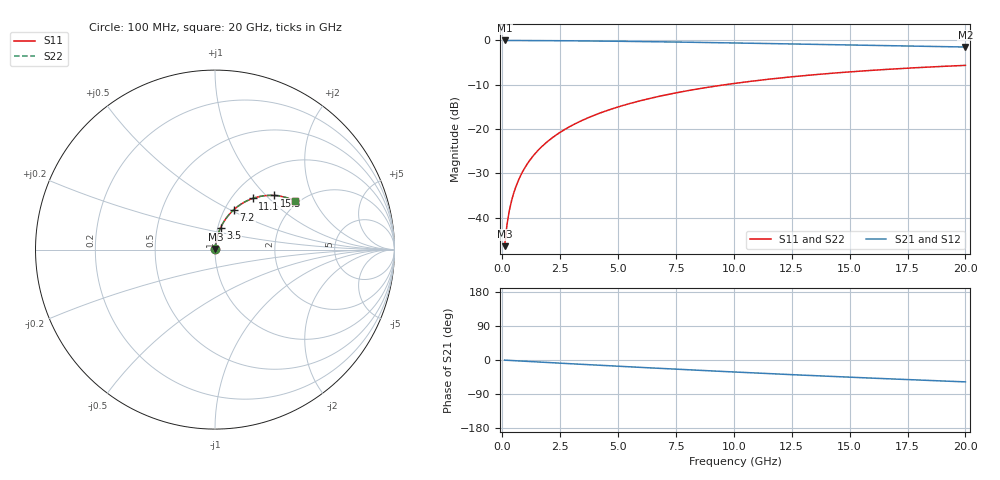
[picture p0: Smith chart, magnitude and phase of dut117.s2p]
! Touchstone file exported from HFSS 2026.1.0
!  File:  C:/ffzhzh/LocalFiles/Ansys_Project_Files/temp_train_BSMRDL_117_1782985974_40604.aedt
!  Generated:  05:54:21 PM Jul  2, 2026
!  Design:  BSMRDL
!  Project:  temp_train_BSMRDL_117_1782985974_40604
! Variables:
!  h_bsmrdl = 5.91um
!  h_ox = 20um
!  h_rdl = 5um
!  h_sub = 80um
!  h_tmrdl = 5um
!  h_tsv = 80um
!  h_via = 3um
!  l_bsmrdl = 882.32um
!  l_sub = 1282.32um
!  l_tmrdl = 200um
!  m_sub = 200um
!  pitch = 57.64um
!  r_tsv = 6um
!  s_tmrdl = 10um
!  w_bsmrdl = 20.45um
!  w_sub = 500um
!  w_tmrdl = 12um
!  x_tsv_center1 = 206um
!  x_tsv_center2 = 1108.77um
!  x_tsv_center3 = 1320.77um
!  x_tsv_center4 = 2223.54um
!  x_tsv_center5 = 2435.54um
!  x_tsv_center6 = 3338.31um
# GHz S MA R 50.000000
! Terminal data exported
! Port[1] = BSM_RDL1_1_T1
! Port[2] = BSM_RDL1_1_T2
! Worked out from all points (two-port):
!   200 points, 100 MHz to 20 GHz, reference 50 ohm
!   highest |S21| = -0.02 dB at 100 MHz (marker M1); lowest = -1.5 dB at 20 GHz (marker M2)
!   |S21| within 3 dB of the highest: start of sweep to end of sweep
!   lowest |S11| = -46.4 dB at 100 MHz (marker M3), VSWR 1.01, Z = 50.3 + j0.395 ohm
!   |S11| at or under -10 dB: start of sweep to 9.617 GHz
!   |S22| runs from -46.4 to -5.6 dB; largest |S21 - S12| = 1.3e-14
!   S11 on the Smith chart (normalised r, x): 100 MHz: 1.01, +0.01; 3.5 GHz: 1.03, +0.26; 7.2 GHz: 1.11, +0.53; 11.1 GHz: 1.24, +0.81; 15.3 GHz: 1.48, +1.12; 20 GHz: 1.93, +1.43
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0.1  0.004796 55.1  0.9973 -0.4  0.9973 -0.4  0.004796 55.1
! Gamma 0 0 0 0
! Port Impedance 50 0 50 0
0.2  0.008311 69.1  0.9971 -0.7  0.9971 -0.7  0.008311 69.1
0.3  0.01195 74.3  0.9969 -1.0  0.9969 -1.0  0.01195 74.3
0.4  0.0156 77.0  0.9968 -1.4  0.9968 -1.4  0.0156 77.0
0.5  0.01926 78.6  0.9966 -1.7  0.9966 -1.7  0.01926 78.6
0.7  0.0266 80.3  0.9963 -2.4  0.9963 -2.4  0.0266 80.3
1  0.03764 81.1  0.9957 -3.4  0.9957 -3.4  0.03764 81.1
1.4  0.05233 81.0  0.9947 -4.7  0.9947 -4.7  0.05233 81.0
1.7  0.06328 80.4  0.9938 -5.7  0.9938 -5.7  0.06328 80.5
2  0.07416 79.8  0.9928 -6.7  0.9928 -6.7  0.07416 79.8
2.7  0.09918 77.9  0.9898 -9.0  0.9898 -9.0  0.09918 77.9
3.5  0.1271 75.6  0.9857 -11.6  0.9857 -11.6  0.1271 75.6
4.2  0.151 73.5  0.9817 -13.9  0.9817 -13.9  0.151 73.5
5  0.1776 71.1  0.9765 -16.4  0.9765 -16.4  0.1776 71.1
6.8  0.2348 65.8  0.9632 -22.1  0.9632 -22.1  0.2348 65.8
7.2  0.247 64.6  0.9599 -23.3  0.9599 -23.3  0.247 64.6
10.1  0.3291 56.3  0.934 -31.9  0.934 -31.9  0.3291 56.3
11.1  0.3548 53.5  0.9244 -34.8  0.9244 -34.8  0.3548 53.6
13.4  0.4084 47.3  0.9017 -41.1  0.9017 -41.1  0.4084 47.4
15.3  0.4471 42.4  0.8832 -46.1  0.8832 -46.1  0.447 42.5
16.7  0.4724 38.9  0.8699 -49.7  0.8699 -49.7  0.4724 39.0
20  0.5225 31.0  0.8412 -57.7  0.8412 -57.7  0.5224 31.1
